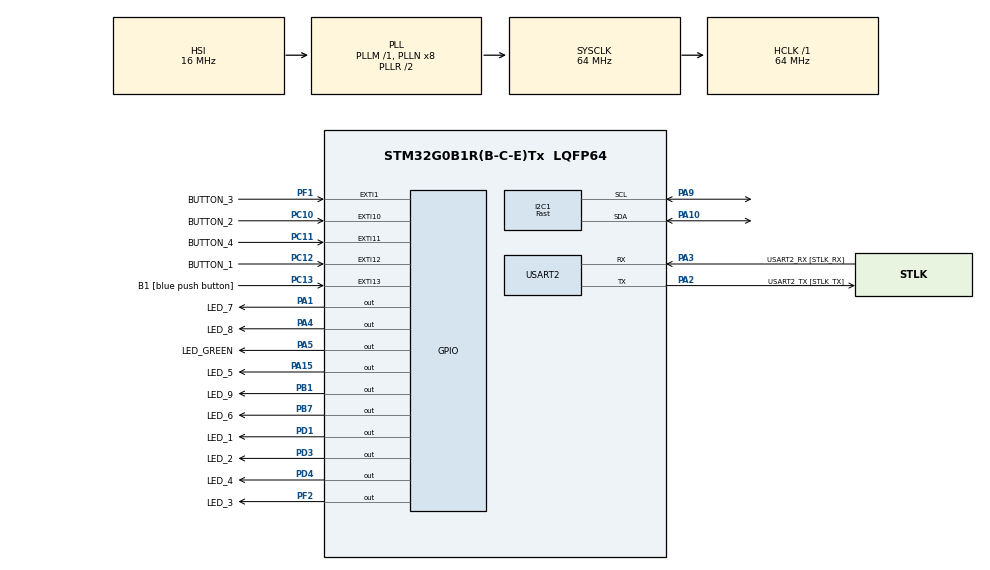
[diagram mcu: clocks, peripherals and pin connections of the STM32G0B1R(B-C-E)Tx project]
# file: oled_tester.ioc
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I2C1.CustomTiming=Disabled
I2C1.I2C_Speed_Mode=I2C_Fast
I2C1.Timing=0x00C12166
Mcu.Family=STM32G0
Mcu.Name=STM32G0B1R(B-C-E)Tx
Mcu.Package=LQFP64
NVIC.EXTI0_1_IRQn=true\:0\:0\:false\:false\:true\:true\:true\:true
NVIC.EXTI4_15_IRQn=true\:0\:0\:false\:false\:true\:true\:true\:true
NVIC.TIM2_IRQn=true\:0\:0\:false\:false\:true\:true\:true\:true
PA1.GPIO_Label=LED_7
PA1.Signal=GPIO_Output
PA10.Mode=I2C
PA10.Signal=I2C1_SDA
PA13.GPIO_Label=TMS
PA13.Mode=Serial_Wire
PA13.Signal=SYS_SWDIO
PA14-BOOT0.GPIO_Label=TCK
PA14-BOOT0.Mode=Serial_Wire
PA14-BOOT0.Signal=SYS_SWCLK
PA15.GPIO_Label=LED_5
PA15.Signal=GPIO_Output
PA2.GPIO_Label=USART2_TX [STLK_TX]
PA2.Mode=Asynchronous
PA2.Signal=USART2_TX
PA3.GPIO_Label=USART2_RX [STLK_RX]
PA3.Mode=Asynchronous
PA3.Signal=USART2_RX
PA4.GPIO_Label=LED_8
PA4.Signal=GPIO_Output
PA5.GPIO_Label=LED_GREEN
PA5.GPIO_Speed=GPIO_SPEED_FREQ_HIGH
PA5.Signal=GPIO_Output
PA9.Mode=I2C
PA9.Signal=I2C1_SCL
PB1.GPIO_Label=LED_9
PB1.Signal=GPIO_Output
PB7.GPIO_Label=LED_6
PB7.Signal=GPIO_Output
PC10.GPIO_Label=BUTTON_2
PC10.GPIO_ModeDefaultEXTI=GPIO_MODE_IT_FALLING
PC10.Signal=GPXTI10
PC11.GPIO_Label=BUTTON_4
PC11.GPIO_ModeDefaultEXTI=GPIO_MODE_IT_FALLING
PC11.Signal=GPXTI11
PC12.GPIO_Label=BUTTON_1
PC12.GPIO_ModeDefaultEXTI=GPIO_MODE_IT_FALLING
PC12.Signal=GPXTI12
PC13.GPIO_Label=B1 [blue push button]
PC13.Signal=GPXTI13
PC14-OSC32_IN\ (PC14).Mode=LSE-External-Oscillator
PC14-OSC32_IN\ (PC14).Signal=RCC_OSC32_IN
PC15-OSC32_OUT\ (PC15).Mode=LSE-External-Oscillator
PC15-OSC32_OUT\ (PC15).Signal=RCC_OSC32_OUT
PD1.GPIO_Label=LED_1
PD1.Signal=GPIO_Output
PD3.GPIO_Label=LED_2
PD3.Signal=GPIO_Output
PD4.GPIO_Label=LED_4
PD4.Signal=GPIO_Output
PF0-OSC_IN\ (PF0).GPIO_Label=MCO
PF0-OSC_IN\ (PF0).Mode=HSE-External-Clock-Source
PF0-OSC_IN\ (PF0).Signal=RCC_OSC_IN
PF1-OSC_OUT\ (PF1).GPIO_Label=BUTTON_3
PF1-OSC_OUT\ (PF1).GPIO_ModeDefaultEXTI=GPIO_MODE_IT_FALLING
PF1-OSC_OUT\ (PF1).Signal=GPXTI1
PF2-NRST.GPIO_Label=LED_3
PF2-NRST.Signal=GPIO_Output
ProjectManager.HeapSize=0x200
ProjectManager.StackSize=0x400
ProjectManager.TargetToolchain=STM32CubeIDE
RCC.ADCFreq_Value=64000000
RCC.AHBFreq_Value=64000000
RCC.CortexFreq_Value=64000000
RCC.EXTERNAL_CLOCK_VALUE=12288000
RCC.HCLKFreq_Value=64000000
RCC.HSE_VALUE=8000000
RCC.HSI48_VALUE=48000000
RCC.HSI_VALUE=16000000
RCC.SYSCLKFreq_VALUE=64000000
RCC.SYSCLKSource=RCC_SYSCLKSOURCE_PLLCLK
RCC.USBFreq_Value=48000000
RCC.VCOOutputFreq_Value=128000000
TIM2.Period=2000
TIM2.Prescaler=2000
USART2.VirtualMode-Asynchronous=VM_ASYNC
VP_SYS_VS_DBSignals.Mode=DisableDeadBatterySignals
VP_TIM2_VS_ClockSourceINT.Mode=Internal
board=NUCLEO-G0B1RE

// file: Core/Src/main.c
/* USER CODE BEGIN Header */
/**
  ******************************************************************************
  * @file           : main.c
  * @brief          : Main program body
  ******************************************************************************
  * @attention
  *
  * Copyright (c) 2025 STMicroelectronics.
  * All rights reserved.
  *
  * This software is licensed under terms that can be found in the LICENSE file
  * in the root directory of this software component.
  * If no LICENSE file comes with this software, it is provided AS-IS.
  *
  ******************************************************************************
  */
/* USER CODE END Header */
#include "main.h"

/* USER CODE BEGIN Includes */
#include "blackjack.h"
#include "ssd1306.h"
/* USER CODE END Includes */

I2C_HandleTypeDef hi2c1;

TIM_HandleTypeDef htim2;

UART_HandleTypeDef huart2;

/* USER CODE BEGIN PV */
bool loop_b = false;
/* USER CODE END PV */

void SystemClock_Config(void);
static void MX_GPIO_Init(void);
static void MX_USART2_UART_Init(void);
static void MX_I2C1_Init(void);
static void MX_TIM2_Init(void);

int main(void)
{

  /* MCU Configuration--------------------------------------------------------*/

  /* Reset of all peripherals, Initializes the Flash interface and the Systick. */
  HAL_Init();

  /* Configure the system clock */
  SystemClock_Config();

  /* Initialize all configured peripherals */
  MX_GPIO_Init();
  MX_USART2_UART_Init();
  MX_I2C1_Init();
  MX_TIM2_Init();
  /* USER CODE BEGIN 2 */
  ssd1306_Init();
  HAL_TIM_Base_Start_IT(&htim2);
  /* USER CODE END 2 */

  /* Infinite loop */
  /* USER CODE BEGIN WHILE */
  while (1)
  {
	  bjack_home();
    /* USER CODE END WHILE */

  }
}

void SystemClock_Config(void)
{
  RCC_OscInitTypeDef RCC_OscInitStruct = {0};
  RCC_ClkInitTypeDef RCC_ClkInitStruct = {0};

  /** Configure the main internal regulator output voltage
  */
  HAL_PWREx_ControlVoltageScaling(PWR_REGULATOR_VOLTAGE_SCALE1);

  /** Initializes the RCC Oscillators according to the specified parameters
  * in the RCC_OscInitTypeDef structure.
  */
  RCC_OscInitStruct.OscillatorType = RCC_OSCILLATORTYPE_HSI;
  RCC_OscInitStruct.HSIState = RCC_HSI_ON;
  RCC_OscInitStruct.HSIDiv = RCC_HSI_DIV1;
  RCC_OscInitStruct.HSICalibrationValue = RCC_HSICALIBRATION_DEFAULT;
  RCC_OscInitStruct.PLL.PLLState = RCC_PLL_ON;
  RCC_OscInitStruct.PLL.PLLSource = RCC_PLLSOURCE_HSI;
  RCC_OscInitStruct.PLL.PLLM = RCC_PLLM_DIV1;
  RCC_OscInitStruct.PLL.PLLN = 8;
  RCC_OscInitStruct.PLL.PLLP = RCC_PLLP_DIV2;
  RCC_OscInitStruct.PLL.PLLQ = RCC_PLLQ_DIV2;
  RCC_OscInitStruct.PLL.PLLR = RCC_PLLR_DIV2;
  if (HAL_RCC_OscConfig(&RCC_OscInitStruct) != HAL_OK)
  {
    Error_Handler();
  }

  /** Initializes the CPU, AHB and APB buses clocks
  */
  RCC_ClkInitStruct.ClockType = RCC_CLOCKTYPE_HCLK|RCC_CLOCKTYPE_SYSCLK
                              |RCC_CLOCKTYPE_PCLK1;
  RCC_ClkInitStruct.SYSCLKSource = RCC_SYSCLKSOURCE_PLLCLK;
  RCC_ClkInitStruct.AHBCLKDivider = RCC_SYSCLK_DIV1;
  RCC_ClkInitStruct.APB1CLKDivider = RCC_HCLK_DIV1;

  if (HAL_RCC_ClockConfig(&RCC_ClkInitStruct, FLASH_LATENCY_2) != HAL_OK)
  {
    Error_Handler();
  }
}

static void MX_I2C1_Init(void)
{

  hi2c1.Instance = I2C1;
  hi2c1.Init.Timing = 0x00C12166;
  hi2c1.Init.OwnAddress1 = 0;
  hi2c1.Init.AddressingMode = I2C_ADDRESSINGMODE_7BIT;
  hi2c1.Init.DualAddressMode = I2C_DUALADDRESS_DISABLE;
  hi2c1.Init.OwnAddress2 = 0;
  hi2c1.Init.OwnAddress2Masks = I2C_OA2_NOMASK;
  hi2c1.Init.GeneralCallMode = I2C_GENERALCALL_DISABLE;
  hi2c1.Init.NoStretchMode = I2C_NOSTRETCH_DISABLE;
  if (HAL_I2C_Init(&hi2c1) != HAL_OK)
  {
    Error_Handler();
  }

  /** Configure Analogue filter
  */
  if (HAL_I2CEx_ConfigAnalogFilter(&hi2c1, I2C_ANALOGFILTER_ENABLE) != HAL_OK)
  {
    Error_Handler();
  }

  /** Configure Digital filter
  */
  if (HAL_I2CEx_ConfigDigitalFilter(&hi2c1, 0) != HAL_OK)
  {
    Error_Handler();
  }

}

static void MX_TIM2_Init(void)
{

  TIM_ClockConfigTypeDef sClockSourceConfig = {0};
  TIM_MasterConfigTypeDef sMasterConfig = {0};

  htim2.Instance = TIM2;
  htim2.Init.Prescaler = 2000;
  htim2.Init.CounterMode = TIM_COUNTERMODE_UP;
  htim2.Init.Period = 2000;
  htim2.Init.ClockDivision = TIM_CLOCKDIVISION_DIV1;
  htim2.Init.AutoReloadPreload = TIM_AUTORELOAD_PRELOAD_DISABLE;
  if (HAL_TIM_Base_Init(&htim2) != HAL_OK)
  {
    Error_Handler();
  }
  sClockSourceConfig.ClockSource = TIM_CLOCKSOURCE_INTERNAL;
  if (HAL_TIM_ConfigClockSource(&htim2, &sClockSourceConfig) != HAL_OK)
  {
    Error_Handler();
  }
  sMasterConfig.MasterOutputTrigger = TIM_TRGO_RESET;
  sMasterConfig.MasterSlaveMode = TIM_MASTERSLAVEMODE_DISABLE;
  if (HAL_TIMEx_MasterConfigSynchronization(&htim2, &sMasterConfig) != HAL_OK)
  {
    Error_Handler();
  }

}

static void MX_USART2_UART_Init(void)
{

  huart2.Instance = USART2;
  huart2.Init.BaudRate = 115200;
  huart2.Init.WordLength = UART_WORDLENGTH_8B;
  huart2.Init.StopBits = UART_STOPBITS_1;
  huart2.Init.Parity = UART_PARITY_NONE;
  huart2.Init.Mode = UART_MODE_TX_RX;
  huart2.Init.HwFlowCtl = UART_HWCONTROL_NONE;
  huart2.Init.OverSampling = UART_OVERSAMPLING_16;
  huart2.Init.OneBitSampling = UART_ONE_BIT_SAMPLE_DISABLE;
  huart2.Init.ClockPrescaler = UART_PRESCALER_DIV1;
  huart2.AdvancedInit.AdvFeatureInit = UART_ADVFEATURE_NO_INIT;
  if (HAL_UART_Init(&huart2) != HAL_OK)
  {
    Error_Handler();
  }
  if (HAL_UARTEx_SetTxFifoThreshold(&huart2, UART_TXFIFO_THRESHOLD_1_8) != HAL_OK)
  {
    Error_Handler();
  }
  if (HAL_UARTEx_SetRxFifoThreshold(&huart2, UART_RXFIFO_THRESHOLD_1_8) != HAL_OK)
  {
    Error_Handler();
  }
  if (HAL_UARTEx_DisableFifoMode(&huart2) != HAL_OK)
  {
    Error_Handler();
  }

}

static void MX_GPIO_Init(void)
{
  GPIO_InitTypeDef GPIO_InitStruct = {0};

  /* GPIO Ports Clock Enable */
  __HAL_RCC_GPIOC_CLK_ENABLE();
  __HAL_RCC_GPIOF_CLK_ENABLE();
  __HAL_RCC_GPIOA_CLK_ENABLE();
  __HAL_RCC_GPIOB_CLK_ENABLE();
  __HAL_RCC_GPIOD_CLK_ENABLE();

  /*Configure GPIO pin Output Level */
  HAL_GPIO_WritePin(LED_3_GPIO_Port, LED_3_Pin, GPIO_PIN_RESET);

  /*Configure GPIO pin Output Level */
  HAL_GPIO_WritePin(GPIOA, LED_7_Pin|LED_8_Pin|LED_GREEN_Pin|LED_5_Pin, GPIO_PIN_RESET);

  /*Configure GPIO pin Output Level */
  HAL_GPIO_WritePin(GPIOB, LED_9_Pin|LED_6_Pin, GPIO_PIN_RESET);

  /*Configure GPIO pin Output Level */
  HAL_GPIO_WritePin(GPIOD, LED_1_Pin|LED_2_Pin|LED_4_Pin, GPIO_PIN_RESET);

  /*Configure GPIO pins : BUTTON_4_Pin BUTTON_1_Pin BUTTON_2_Pin */
  GPIO_InitStruct.Pin = BUTTON_4_Pin|BUTTON_1_Pin|BUTTON_2_Pin;
  GPIO_InitStruct.Mode = GPIO_MODE_IT_FALLING;
  GPIO_InitStruct.Pull = GPIO_NOPULL;
  HAL_GPIO_Init(GPIOC, &GPIO_InitStruct);

  /*Configure GPIO pin : B1_Pin */
  GPIO_InitStruct.Pin = B1_Pin;
  GPIO_InitStruct.Mode = GPIO_MODE_IT_RISING;
  GPIO_InitStruct.Pull = GPIO_NOPULL;
  HAL_GPIO_Init(B1_GPIO_Port, &GPIO_InitStruct);

  /*Configure GPIO pin : BUTTON_3_Pin */
  GPIO_InitStruct.Pin = BUTTON_3_Pin;
  GPIO_InitStruct.Mode = GPIO_MODE_IT_FALLING;
  GPIO_InitStruct.Pull = GPIO_NOPULL;
  HAL_GPIO_Init(BUTTON_3_GPIO_Port, &GPIO_InitStruct);

  /*Configure GPIO pin : LED_3_Pin */
  GPIO_InitStruct.Pin = LED_3_Pin;
  GPIO_InitStruct.Mode = GPIO_MODE_OUTPUT_PP;
  GPIO_InitStruct.Pull = GPIO_NOPULL;
  GPIO_InitStruct.Speed = GPIO_SPEED_FREQ_LOW;
  HAL_GPIO_Init(LED_3_GPIO_Port, &GPIO_InitStruct);

  /*Configure GPIO pins : LED_7_Pin LED_8_Pin LED_5_Pin */
  GPIO_InitStruct.Pin = LED_7_Pin|LED_8_Pin|LED_5_Pin;
  GPIO_InitStruct.Mode = GPIO_MODE_OUTPUT_PP;
  GPIO_InitStruct.Pull = GPIO_NOPULL;
  GPIO_InitStruct.Speed = GPIO_SPEED_FREQ_LOW;
  HAL_GPIO_Init(GPIOA, &GPIO_InitStruct);

  /*Configure GPIO pin : LED_GREEN_Pin */
  GPIO_InitStruct.Pin = LED_GREEN_Pin;
  GPIO_InitStruct.Mode = GPIO_MODE_OUTPUT_PP;
  GPIO_InitStruct.Pull = GPIO_NOPULL;
  GPIO_InitStruct.Speed = GPIO_SPEED_FREQ_HIGH;
  HAL_GPIO_Init(LED_GREEN_GPIO_Port, &GPIO_InitStruct);

  /*Configure GPIO pins : LED_9_Pin LED_6_Pin */
  GPIO_InitStruct.Pin = LED_9_Pin|LED_6_Pin;
  GPIO_InitStruct.Mode = GPIO_MODE_OUTPUT_PP;
  GPIO_InitStruct.Pull = GPIO_NOPULL;
  GPIO_InitStruct.Speed = GPIO_SPEED_FREQ_LOW;
  HAL_GPIO_Init(GPIOB, &GPIO_InitStruct);

  /*Configure GPIO pins : LED_1_Pin LED_2_Pin LED_4_Pin */
  GPIO_InitStruct.Pin = LED_1_Pin|LED_2_Pin|LED_4_Pin;
  GPIO_InitStruct.Mode = GPIO_MODE_OUTPUT_PP;
  GPIO_InitStruct.Pull = GPIO_NOPULL;
  GPIO_InitStruct.Speed = GPIO_SPEED_FREQ_LOW;
  HAL_GPIO_Init(GPIOD, &GPIO_InitStruct);

  /* EXTI interrupt init*/
  HAL_NVIC_SetPriority(EXTI0_1_IRQn, 0, 0);
  HAL_NVIC_EnableIRQ(EXTI0_1_IRQn);

  HAL_NVIC_SetPriority(EXTI4_15_IRQn, 0, 0);
  HAL_NVIC_EnableIRQ(EXTI4_15_IRQn);

}

/* USER CODE BEGIN 4 */
void HAL_GPIO_EXTI_Falling_Callback(uint16_t GPIO_Pin) {
	if (GPIO_Pin == BUTTON_1_Pin) {
		bpressed = 1;
	}

	if (GPIO_Pin == BUTTON_2_Pin) {
		bpressed = 2;
	}

	if (GPIO_Pin == BUTTON_3_Pin) {
		bpressed = 3;
	}

	if (GPIO_Pin == BUTTON_4_Pin) {
		bpressed = 4;
	}
}

void HAL_TIM_PeriodElapsedCallback(TIM_HandleTypeDef *htim) {
	if (htim->Instance == TIM2) {
		frame_ready = true;
	}
}
/* USER CODE END 4 */

void Error_Handler(void)
{
  __disable_irq();
  while (1)
  {
  }
}
